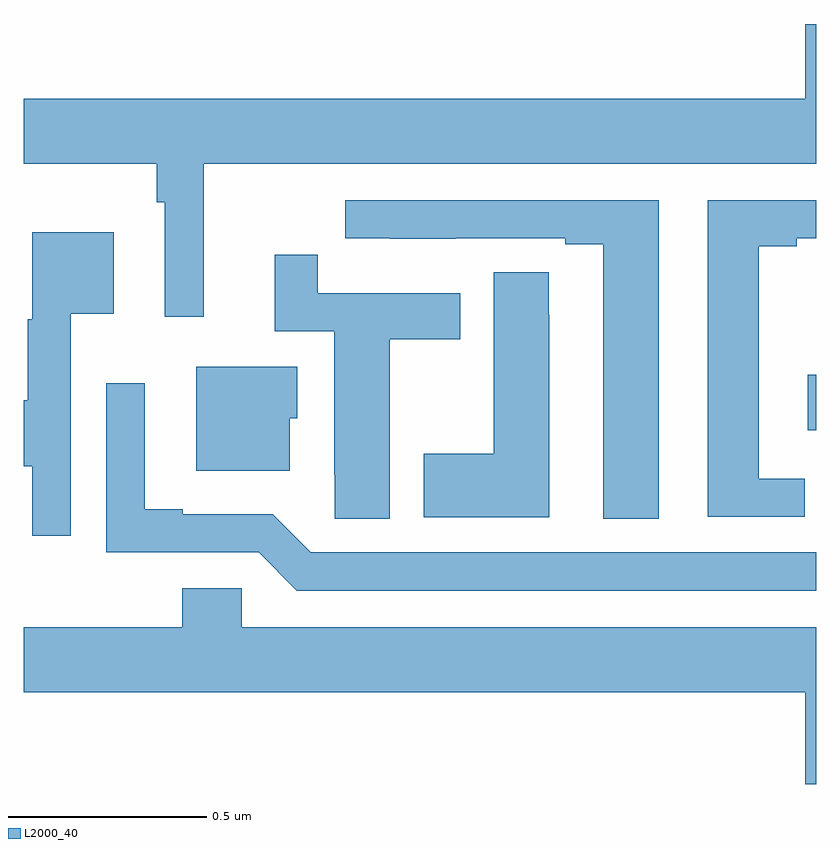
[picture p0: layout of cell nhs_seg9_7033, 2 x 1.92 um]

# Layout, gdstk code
import gdstk
lib = gdstk.Library(unit=1e-6, precision=1e-09)
def R(c, l, rs):  # rectangles x0, y0, x1, y1
    for r in rs: c.add(gdstk.rectangle(r[:2], r[2:], *l))
def P(c, l, *ps):  # polygons
    for p in ps: c.add(gdstk.Polygon(p, *l))
L2000_40 = (2000, 40)

nhs_seg9_7033 = lib.new_cell('nhs_seg9_7033')
R(nhs_seg9_7033, L2000_40, [(200.978,1218.392,201,1218.532)])
P(nhs_seg9_7033, L2000_40, [(199.454,1219.064),(201,1219.064),(201,1219.417),(200.972,1219.417),(200.972,1219.228),(199,1219.228),(199,1219.064),(199.336,1219.064),(199.336,1218.968),(199.356,1218.968),(199.356,1218.678),(199.454,1218.678)],
  [(200.602,1218.972),(199.812,1218.972),(199.812,1218.876),(199.924,1218.876),(199.924,1218.875),(200.09,1218.875),(200.09,1218.876),(200.366,1218.876),(200.366,1218.861),(200.462,1218.861),(200.462,1218.169),(200.602,1218.169)],
  [(200.971,1218.27),(200.854,1218.27),(200.854,1218.856),(200.95,1218.856),(200.95,1218.876),(201,1218.876),(201,1218.972),(200.726,1218.972),(200.726,1218.174),(200.971,1218.174)],
  [(199.119,1218.686),(199.228,1218.686),(199.228,1218.892),(199.022,1218.892),(199.022,1218.672),(199.011,1218.672),(199.011,1218.468),(199,1218.468),(199,1218.302),(199.022,1218.302),(199.022,1218.126),(199.119,1218.126)],
  [(199.924,1218.622),(200.101,1218.622),(200.101,1218.738),(199.742,1218.738),(199.742,1218.835),(199.634,1218.835),(199.634,1218.642),(199.784,1218.642),(199.784,1218.28),(199.785,1218.28),(199.785,1218.169),(199.924,1218.169)],
  [(200.326,1218.683),(200.325,1218.683),(200.325,1218.791),(200.186,1218.791),(200.186,1218.333),(200.009,1218.333),(200.009,1218.173),(200.326,1218.173)],
  [(199.672,1218.423),(199.69,1218.423),(199.69,1218.553),(199.436,1218.553),(199.436,1218.29),(199.672,1218.29)],
  [(201,1218.084),(199.725,1218.084),(199.629,1218.18),(199.402,1218.18),(199.402,1218.193),(199.306,1218.193),(199.306,1218.511),(199.209,1218.511),(199.209,1218.084),(199.593,1218.084),(199.689,1217.988),(201,1217.988)],
  [(201,1217.896),(199.551,1217.896),(199.551,1217.994),(199.4,1217.994),(199.4,1217.896),(199,1217.896),(199,1217.732),(200.972,1217.732),(200.972,1217.5),(201,1217.5)])

lib.write_gds('nhs_seg9_7033.gds')
